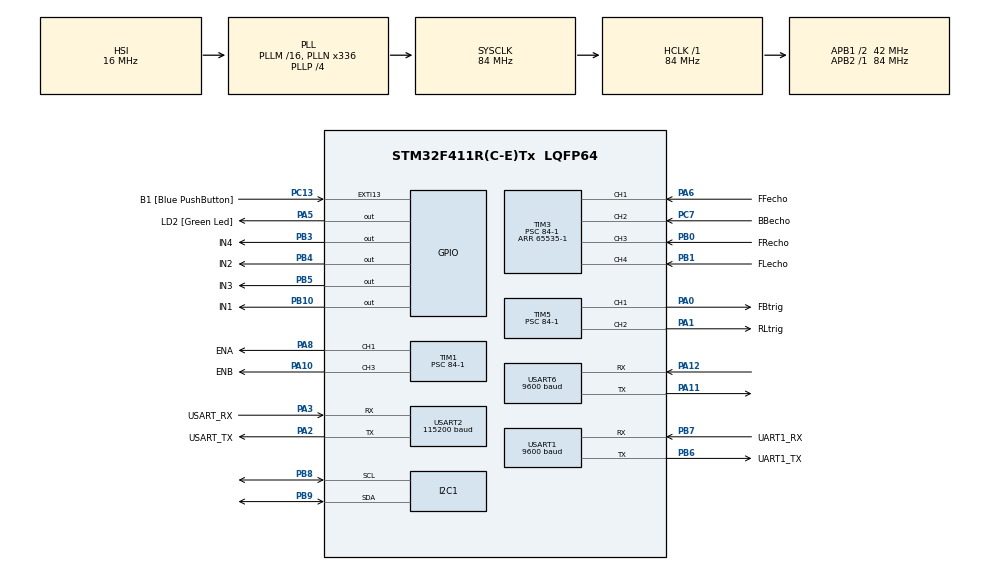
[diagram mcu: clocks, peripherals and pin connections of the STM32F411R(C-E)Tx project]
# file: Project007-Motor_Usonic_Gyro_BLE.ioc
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Mcu.Family=STM32F4
Mcu.Name=STM32F411R(C-E)Tx
Mcu.Package=LQFP64
NVIC.EXTI15_10_IRQn=true\:0\:0\:false\:false\:true\:true\:true\:true
NVIC.PriorityGroup=NVIC_PRIORITYGROUP_4
NVIC.TIM3_IRQn=true\:0\:0\:false\:false\:true\:true\:true\:true
NVIC.TIM4_IRQn=true\:0\:0\:false\:false\:true\:true\:true\:true
NVIC.USART1_IRQn=true\:0\:0\:false\:false\:true\:true\:true\:true
NVIC.USART2_IRQn=true\:0\:0\:false\:false\:true\:true\:true\:true
NVIC.USART6_IRQn=true\:0\:0\:false\:false\:true\:true\:true\:true
PA0-WKUP.GPIO_Label=FBtrig
PA0-WKUP.Signal=S_TIM5_CH1
PA1.GPIO_Label=RLtrig
PA1.Signal=S_TIM5_CH2
PA10.GPIO_Label=ENB
PA10.Signal=S_TIM1_CH3
PA11.Mode=Asynchronous
PA11.Signal=USART6_TX
PA12.Mode=Asynchronous
PA12.Signal=USART6_RX
PA13.GPIO_Label=TMS
PA13.Mode=Serial_Wire
PA13.Signal=SYS_JTMS-SWDIO
PA14.GPIO_Label=TCK
PA14.Mode=Serial_Wire
PA14.Signal=SYS_JTCK-SWCLK
PA2.GPIO_Label=USART_TX
PA2.Mode=Asynchronous
PA2.Signal=USART2_TX
PA3.GPIO_Label=USART_RX
PA3.Mode=Asynchronous
PA3.Signal=USART2_RX
PA5.GPIO_Label=LD2 [Green Led]
PA5.Signal=GPIO_Output
PA6.GPIO_Label=FFecho
PA6.Signal=S_TIM3_CH1
PA8.GPIO_Label=ENA
PA8.Signal=S_TIM1_CH1
PB0.GPIO_Label=FRecho
PB0.Signal=S_TIM3_CH3
PB1.GPIO_Label=FLecho
PB1.Signal=S_TIM3_CH4
PB10.GPIO_Label=IN1
PB10.Signal=GPIO_Output
PB3.GPIO_Label=IN4
PB3.Signal=GPIO_Output
PB4.GPIO_Label=IN2
PB4.Signal=GPIO_Output
PB5.GPIO_Label=IN3
PB5.Signal=GPIO_Output
PB6.GPIO_Label=UART1_TX
PB6.Mode=Asynchronous
PB6.Signal=USART1_TX
PB7.GPIO_Label=UART1_RX
PB7.Mode=Asynchronous
PB7.Signal=USART1_RX
PB8.Mode=I2C
PB8.Signal=I2C1_SCL
PB9.Mode=I2C
PB9.Signal=I2C1_SDA
PC13-ANTI_TAMP.GPIO_Label=B1 [Blue PushButton]
PC13-ANTI_TAMP.GPIO_ModeDefaultEXTI=GPIO_MODE_IT_FALLING
PC13-ANTI_TAMP.Signal=GPXTI13
PC14-OSC32_IN.Mode=LSE-External-Oscillator
PC14-OSC32_IN.Signal=RCC_OSC32_IN
PC15-OSC32_OUT.Mode=LSE-External-Oscillator
PC15-OSC32_OUT.Signal=RCC_OSC32_OUT
PC7.GPIO_Label=BBecho
PC7.Signal=S_TIM3_CH2
PH0\ -\ OSC_IN.Mode=HSE-External-Clock-Source
PH0\ -\ OSC_IN.Signal=RCC_OSC_IN
PH1\ -\ OSC_OUT.Mode=HSE-External-Clock-Source
PH1\ -\ OSC_OUT.Signal=RCC_OSC_OUT
ProjectManager.HeapSize=0x200
ProjectManager.StackSize=0x400
ProjectManager.TargetToolchain=STM32CubeIDE
RCC.48MHZClocksFreq_Value=84000000
RCC.AHBFreq_Value=84000000
RCC.APB1CLKDivider=RCC_HCLK_DIV2
RCC.APB1Freq_Value=42000000
RCC.APB1TimFreq_Value=84000000
RCC.APB2Freq_Value=84000000
RCC.APB2TimFreq_Value=84000000
RCC.CortexFreq_Value=84000000
RCC.FLatency-AdvancedSettings=FLASH_LATENCY_2
RCC.HCLKFreq_Value=84000000
RCC.HSE_VALUE=8000000
RCC.HSI_VALUE=16000000
RCC.PLLN=336
RCC.PLLP=RCC_PLLP_DIV4
RCC.SYSCLKFreq_VALUE=84000000
RCC.SYSCLKSource=RCC_SYSCLKSOURCE_PLLCLK
RCC.VCOOutputFreq_Value=336000000
SH.S_TIM1_CH1.0=TIM1_CH1,PWM Generation1 CH1
SH.S_TIM1_CH3.0=TIM1_CH3,PWM Generation3 CH3
SH.S_TIM3_CH1.0=TIM3_CH1,Input_Capture1_from_TI1
SH.S_TIM3_CH2.0=TIM3_CH2,Input_Capture2_from_TI2
SH.S_TIM3_CH3.0=TIM3_CH3,Input_Capture3_from_TI3
SH.S_TIM3_CH4.0=TIM3_CH4,Input_Capture4_from_TI4
SH.S_TIM5_CH1.0=TIM5_CH1,PWM Generation1 CH1
SH.S_TIM5_CH2.0=TIM5_CH2,PWM Generation2 CH2
TIM1.Channel-PWM\ Generation1\ CH1=TIM_CHANNEL_1
TIM1.Channel-PWM\ Generation3\ CH3=TIM_CHANNEL_3
TIM1.Period=1000-1
TIM1.Prescaler=84-1
TIM2.Prescaler=84-1
TIM3.AutoReloadPreload=TIM_AUTORELOAD_PRELOAD_ENABLE
TIM3.Channel-Input_Capture1_from_TI1=TIM_CHANNEL_1
TIM3.Channel-Input_Capture2_from_TI2=TIM_CHANNEL_2
TIM3.Channel-Input_Capture3_from_TI3=TIM_CHANNEL_3
TIM3.Channel-Input_Capture4_from_TI4=TIM_CHANNEL_4
TIM3.ICPolarity_CH1=TIM_INPUTCHANNELPOLARITY_RISING
TIM3.ICPolarity_CH2=TIM_INPUTCHANNELPOLARITY_RISING
TIM3.ICPolarity_CH3=TIM_INPUTCHANNELPOLARITY_RISING
TIM3.ICPolarity_CH4=TIM_INPUTCHANNELPOLARITY_RISING
TIM3.Period=65535-1
TIM3.Prescaler=84-1
TIM3.TIM_MasterOutputTrigger=TIM_TRGO_UPDATE
TIM4.Period=10000-1
TIM4.Prescaler=8400-1
TIM5.AutoReloadPreload=TIM_AUTORELOAD_PRELOAD_ENABLE
TIM5.Channel-PWM\ Generation1\ CH1=TIM_CHANNEL_1
TIM5.Channel-PWM\ Generation2\ CH2=TIM_CHANNEL_2
TIM5.CounterMode=TIM_COUNTERMODE_CENTERALIGNED1
TIM5.OCMode_PWM-PWM\ Generation1\ CH1=TIM_OCMODE_PWM2
TIM5.Period=60000-1
TIM5.Prescaler=84-1
TIM5.Pulse-PWM\ Generation1\ CH1=59990-1
TIM5.Pulse-PWM\ Generation2\ CH2=10-1
TIM5.TIM_MasterOutputTrigger=TIM_TRGO_UPDATE
USART1.BaudRate=9600
USART1.VirtualMode=VM_ASYNC
USART2.BaudRate=115200
USART2.VirtualMode=VM_ASYNC
USART6.BaudRate=9600
USART6.VirtualMode=VM_ASYNC
VP_TIM1_VS_ClockSourceINT.Mode=Internal
VP_TIM2_VS_ClockSourceINT.Mode=Internal
VP_TIM3_VS_ClockSourceINT.Mode=Internal
VP_TIM4_VS_ClockSourceINT.Mode=Internal
VP_TIM5_VS_ClockSourceINT.Mode=Internal
board=NUCLEO-F411RE

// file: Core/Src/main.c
/* USER CODE BEGIN Header */
/**
  ******************************************************************************
  * @file           : main.c
  * @brief          : Main program body
  ******************************************************************************
  * @attention
  *
  * Copyright (c) 2025 STMicroelectronics.
  * All rights reserved.
  *
  * This software is licensed under terms that can be found in the LICENSE file
  * in the root directory of this software component.
  * If no LICENSE file comes with this software, it is provided AS-IS.
  *
  ******************************************************************************
  */
/* USER CODE END Header */
#include "main.h"

/* USER CODE BEGIN Includes */
#include "string.h"
#include <stdio.h>
#include <math.h>
/* USER CODE END Includes */

I2C_HandleTypeDef hi2c1;

TIM_HandleTypeDef htim1;
TIM_HandleTypeDef htim2;
TIM_HandleTypeDef htim3;
TIM_HandleTypeDef htim4;
TIM_HandleTypeDef htim5;

UART_HandleTypeDef huart1;
UART_HandleTypeDef huart2;
UART_HandleTypeDef huart6;

void SystemClock_Config(void);
static void MX_GPIO_Init(void);
static void MX_USART2_UART_Init(void);
static void MX_TIM1_Init(void);
static void MX_TIM2_Init(void);
static void MX_TIM3_Init(void);
static void MX_I2C1_Init(void);
static void MX_USART1_UART_Init(void);
static void MX_TIM4_Init(void);
static void MX_USART6_UART_Init(void);
static void MX_TIM5_Init(void);

/* USER CODE BEGIN 0 */
#define BUF_SIZE 100
double FF_dist = 0, FR_dist = 0, FL_dist = 0, BB_dist = 0;
//0 : Slow Stop , 1 : Emergency Stop, 2 : Forward, 3: Backward
//4 : Slow Right, 5 : Quick Right
//6 : Slow Left, 7 : Quick Left
void Motor_Mode(int x)
{
	switch(x) {
		  case 0:		// Slow Stop
			  if(htim1.Instance->CCR1 > 0)
			  {
				  HAL_GPIO_WritePin(IN1_GPIO_Port, IN1_Pin, 1);
				  HAL_GPIO_WritePin(IN2_GPIO_Port, IN2_Pin, 0);
				  HAL_GPIO_WritePin(IN3_GPIO_Port, IN3_Pin, 1);
				  HAL_GPIO_WritePin(IN4_GPIO_Port, IN4_Pin, 0);
				  for(int spd = 300; spd > 0;)
				  {
					  htim1.Instance->CCR1 = spd;
					  htim1.Instance->CCR3 = spd;
					  spd -= 40;
					  HAL_Delay(100);
				  }
				  htim1.Instance->CCR1 = 0;
				  htim1.Instance->CCR3 = 0;
			  }
			  else
			  {
				  HAL_GPIO_WritePin(IN1_GPIO_Port, IN1_Pin, 1);
				  HAL_GPIO_WritePin(IN2_GPIO_Port, IN2_Pin, 1);
				  HAL_GPIO_WritePin(IN3_GPIO_Port, IN3_Pin, 1);
				  HAL_GPIO_WritePin(IN4_GPIO_Port, IN4_Pin, 1);
			  }
			  break;
		  case 1:		// Emergency Stop
			  HAL_GPIO_WritePin(IN1_GPIO_Port, IN1_Pin, 1);
			  HAL_GPIO_WritePin(IN2_GPIO_Port, IN2_Pin, 1);
			  HAL_GPIO_WritePin(IN3_GPIO_Port, IN3_Pin, 1);
			  HAL_GPIO_WritePin(IN4_GPIO_Port, IN4_Pin, 1);
			  break;
		  case 2:		// Forward
			  htim1.Instance->CCR1 = 300;
			  htim1.Instance->CCR3 = 300;

			  HAL_GPIO_WritePin(IN1_GPIO_Port, IN1_Pin, 1);
			  HAL_GPIO_WritePin(IN2_GPIO_Port, IN2_Pin, 0);
			  HAL_GPIO_WritePin(IN3_GPIO_Port, IN3_Pin, 1);
			  HAL_GPIO_WritePin(IN4_GPIO_Port, IN4_Pin, 0);
			  break;
		  case 3:		// Backward
			  htim1.Instance->CCR1 = 300;
			  htim1.Instance->CCR3 = 300;
			  HAL_GPIO_WritePin(IN1_GPIO_Port, IN1_Pin, 0);
			  HAL_GPIO_WritePin(IN2_GPIO_Port, IN2_Pin, 1);
			  HAL_GPIO_WritePin(IN3_GPIO_Port, IN3_Pin, 0);
			  HAL_GPIO_WritePin(IN4_GPIO_Port, IN4_Pin, 1);
			  break;
		  case 4:		// Slow Right
			  htim1.Instance->CCR1 = 450;		//ENA
			  htim1.Instance->CCR3 = 220;		//ENB

			  HAL_GPIO_WritePin(IN1_GPIO_Port, IN1_Pin, 1);
			  HAL_GPIO_WritePin(IN2_GPIO_Port, IN2_Pin, 0);
			  HAL_GPIO_WritePin(IN3_GPIO_Port, IN3_Pin, 1);
			  HAL_GPIO_WritePin(IN4_GPIO_Port, IN4_Pin, 0);
			  break;
		  case 5:		// Quick Right
			  htim1.Instance->CCR1 = 300;
			  htim1.Instance->CCR3 = 300;

			  HAL_GPIO_WritePin(IN1_GPIO_Port, IN1_Pin, 1);
			  HAL_GPIO_WritePin(IN2_GPIO_Port, IN2_Pin, 0);
			  HAL_GPIO_WritePin(IN3_GPIO_Port, IN3_Pin, 0);
			  HAL_GPIO_WritePin(IN4_GPIO_Port, IN4_Pin, 1);
			  break;
		  case 6:		// Slow Left
			  htim1.Instance->CCR1 = 220;		//ENA
			  htim1.Instance->CCR3 = 450;		//ENB

			  HAL_GPIO_WritePin(IN1_GPIO_Port, IN1_Pin, 1);
			  HAL_GPIO_WritePin(IN2_GPIO_Port, IN2_Pin, 0);
			  HAL_GPIO_WritePin(IN3_GPIO_Port, IN3_Pin, 1);
			  HAL_GPIO_WritePin(IN4_GPIO_Port, IN4_Pin, 0);
			  break;
		  case 7:		// Quick Left
			  htim1.Instance->CCR1 = 300;
			  htim1.Instance->CCR3 = 300;

			  HAL_GPIO_WritePin(IN1_GPIO_Port, IN1_Pin, 0);
			  HAL_GPIO_WritePin(IN2_GPIO_Port, IN2_Pin, 1);
			  HAL_GPIO_WritePin(IN3_GPIO_Port, IN3_Pin, 1);
			  HAL_GPIO_WritePin(IN4_GPIO_Port, IN4_Pin, 0);
			  break;
	}
}

int mv_mode = 1;
// 0 : standby, 1 : Passenger, 2 : watchdog
// 3 : Obstacle, 4 : Forward First, 5 : Right First, 6 : Left First
// 7 : Destination, 8 : Charge
void Move_mode()
{
	switch(mv_mode)
	{
	case 0 :	// Standby
		printf("======Standby========\r\n");
		Motor_Mode(1);	// Emergency Stop
		break;
	case 1 :	// Passenger
		printf("======Passenger========\r\n");
		Motor_Mode(1);	// Emergency Stop
		break;
	case 2 : 	// Watchdog
		printf("======Watchdog========\r\n");
		Motor_Mode(1);	// Emergency Stop
		break;
	case 3 :	// Obstacle
		printf("======Obstacle========\r\n");
		Motor_Mode(1);	// Emergency Stop
		break;
	case 4 :	// Forward First
		if((FR_dist < 500) && (FL_dist < 500) && (FF_dist < 500))
		{
			Motor_Mode(0);	// Slow Stop
			mv_mode = 3;
		}
		else if(FR_dist < 300)
		{
			while(FF_dist < 800)
			{
				Motor_Mode(7);	// Quick Left
				HAL_Delay(1);
			}
		}
		else if(FL_dist < 300)
		{
			while(FF_dist < 800)
			{
				Motor_Mode(5);	// Quick Right
				HAL_Delay(1);
			}
		}
		else if(FR_dist < 500)
		{
			while(FF_dist < 800)
			{
				Motor_Mode(6);	// Slow Left
				HAL_Delay(1);
			}
		}
		else if(FL_dist < 500)
		{
			while(FF_dist < 800)
			{
				Motor_Mode(4);	// Slow Right
				HAL_Delay(1);
			}
		}
		else
		{
			Motor_Mode(2);	// Forward
		}
		break;
	case 5 : 	// Right First

		break;
	case 6 :	// Left First
		printe("======Left First========");
		if((FL_dist < 150) || (FR_dist < 150) || (FF_dist < 150))
		{
			while(!printe("=============1============="));
			Motor_Mode(0);	// Slow Stop
			HAL_Delay(100);
			Motor_Mode(3);	// Backward
			HAL_Delay(10);
		}
		else if((FL_dist < 300) && (FR_dist > 500))
		{
			while(!printe("=============2============="));
			Motor_Mode(5);	// Quick Right
			HAL_Delay(2);
		}
		else
		{
			while(!printe("=============3============="));
			Motor_Mode(6);	// Slow Left
			HAL_Delay(2);
		}
		break;
	case 7 :	// Destination
		//Gyro_ModuleSet();
		Motor_Mode(2);	// Forward
		printe("======Destination========");
		while(1)
		{
			//printf("FF_dist = %.2f\r\n", FF_dist);
			if(FF_dist > 800)
			{
				Motor_Mode(2);	// Forward
			}
			else	break;
		}
		//Gyro_reSet();
		double Dturn;
		char debug_buf2[100];
		while(Dturn < 160)
		{
			//printf("BB_dist = %.2f\r\n", BB_dist);
			//Read_Z_Angle(&Dturn);
			sprintf(debug_buf2, "%.2f", Dturn);
			printe(debug_buf2);
			HAL_Delay(200);
			Motor_Mode(5);		// Quick Right
			HAL_Delay(10);
		}
		while(1)
		{
			//printf("BB_dist = %.2f\r\n", BB_dist);
			//printf("backward\r\n");
			Motor_Mode(3);		// Backward
			if(BB_dist < 300)	break;
		}
		mv_mode = 1;
		//printf("curr_state : %d\r\n", mv_mode);
		break;
	case 8 :	// Charge

		break;
	}
}

// GPIO Interrupt
int testM = 0;
void HAL_GPIO_EXTI_Callback(uint16_t GPIO_Pin)
{
  switch(GPIO_Pin) {
	case GPIO_PIN_13:
		if(mv_mode == 1)	mv_mode = 6;
		break;
  }
}

int fF_t1 = 0, fF_t2 = 0;
int fR_t1 = 0, fR_t2 = 0;
int fL_t1 = 0, fL_t2 = 0;
int bB_t1 = 0, bB_t2 = 0;
uint8_t fF_Flag = 0;
uint8_t bB_Flag = 0;
uint8_t fR_Flag = 0;
uint8_t fL_Flag = 0;
void HAL_TIM_IC_CaptureCallback(TIM_HandleTypeDef *htim)
{
	// Ultrasonic TIM_IC
  if (htim->Instance == TIM3)
  {
    if (htim->Channel == HAL_TIM_ACTIVE_CHANNEL_1)	// FF_Echo
    {
      if (fF_Flag == 0)  // Rising Edge
      {
    	  fF_t1 = HAL_TIM_ReadCapturedValue(htim, TIM_CHANNEL_1);
    	  // Capture state
    	  fF_Flag = 1;

        // set Falling Edge Detect Mode
        __HAL_TIM_SET_CAPTUREPOLARITY(htim, TIM_CHANNEL_1, TIM_INPUTCHANNELPOLARITY_FALLING);
      }
      else if (fF_Flag == 1)  // Falling Edge
      {
        fF_t2 = HAL_TIM_ReadCapturedValue(htim, TIM_CHANNEL_1);
        uint32_t max_cnt = __HAL_TIM_GET_AUTORELOAD(htim);	// Timer MAX Value

        // Distance
        // (t us * 340 m/s) / 2 -> t * 0.17 mm/us
        if (fF_t2 > fF_t1)
        {
          FF_dist = ((fF_t2 - fF_t1) * 17) / 100.0;
        }
        else
        {
        	FF_dist = (((max_cnt - fF_t1) + fF_t2 + 1) * 17) / 100.0;
        }

        // Capture State initial
        fF_Flag = 0;

        // Set Rising Edge Detect Mode
        __HAL_TIM_SET_CAPTUREPOLARITY(htim, TIM_CHANNEL_1, TIM_INPUTCHANNELPOLARITY_RISING);
        //__HAL_TIM_SET_COUNTER(htim, 0); // Timer Counter Initial
      }
    }
    if (htim->Channel == HAL_TIM_ACTIVE_CHANNEL_2)	// BB_Echo
    {
	  if (bB_Flag == 0)  // Rising Edge
	  {
		  bB_t1 = HAL_TIM_ReadCapturedValue(htim, TIM_CHANNEL_2);
		  // Capture state
		  bB_Flag = 1;

		// set Falling Edge Detect Mode
		__HAL_TIM_SET_CAPTUREPOLARITY(htim, TIM_CHANNEL_2, TIM_INPUTCHANNELPOLARITY_FALLING);
	  }
	  else if (bB_Flag == 1)  // Falling Edge
	  {
		bB_t2 = HAL_TIM_ReadCapturedValue(htim, TIM_CHANNEL_2);
		uint32_t max_cnt = __HAL_TIM_GET_AUTORELOAD(htim);	// Timer MAX Value

		// Distance
		// (t us * 340 m/s) / 2 -> t * 0.17 mm/us
		if (bB_t2 > bB_t1)
		{
		  BB_dist = ((bB_t2 - bB_t1) * 17) / 100.0;
		}
		else
		{
			BB_dist = (((max_cnt - bB_t1) + bB_t2 + 1) * 17) / 100.0;
		}

		// Capture State initial
		bB_Flag = 0;

		// Set Rising Edge Detect Mode
		__HAL_TIM_SET_CAPTUREPOLARITY(htim, TIM_CHANNEL_2, TIM_INPUTCHANNELPOLARITY_RISING);
		//__HAL_TIM_SET_COUNTER(htim, 0); // Timer Counter Initial
	  }
	}
    if (htim->Channel == HAL_TIM_ACTIVE_CHANNEL_3)	// FR_Echo
	{
	  if (fR_Flag == 0)  // Rising Edge
	  {
		  fR_t1 = HAL_TIM_ReadCapturedValue(htim, TIM_CHANNEL_3);
		  // Capture state
		  fR_Flag = 1;

		// set Falling Edge Detect Mode
		__HAL_TIM_SET_CAPTUREPOLARITY(htim, TIM_CHANNEL_3, TIM_INPUTCHANNELPOLARITY_FALLING);
	  }
	  else if (fR_Flag == 1)  // Falling Edge
	  {
		fR_t2 = HAL_TIM_ReadCapturedValue(htim, TIM_CHANNEL_3);
		uint32_t max_cnt = __HAL_TIM_GET_AUTORELOAD(htim);	// Timer MAX Value

		// Distance
		// (t us * 340 m/s) / 2 -> t * 0.17 mm/us
		if (fR_t2 > fR_t1)
		{
		  FR_dist = ((fR_t2 - fR_t1) * 17) / 100.0;
		}
		else
		{
			FR_dist = (((max_cnt - fR_t1) + fR_t2 + 1) * 17) / 100.0;
		}

		// Capture State initial
		fR_Flag = 0;

		// Set Rising Edge Detect Mode
		__HAL_TIM_SET_CAPTUREPOLARITY(htim, TIM_CHANNEL_3, TIM_INPUTCHANNELPOLARITY_RISING);
		//__HAL_TIM_SET_COUNTER(htim, 0); // Timer Counter Initial
	  }
	}
    if (htim->Channel == HAL_TIM_ACTIVE_CHANNEL_4)	// FR_Echo
	{
	  if (fL_Flag == 0)  // Rising Edge
	  {
		  fL_t1 = HAL_TIM_ReadCapturedValue(htim, TIM_CHANNEL_4);
		  // Capture state
		  fL_Flag = 1;

		// set Falling Edge Detect Mode
		__HAL_TIM_SET_CAPTUREPOLARITY(htim, TIM_CHANNEL_4, TIM_INPUTCHANNELPOLARITY_FALLING);
	  }
	  else if (fL_Flag == 1)  // Falling Edge
	  {
		fL_t2 = HAL_TIM_ReadCapturedValue(htim, TIM_CHANNEL_4);
		uint32_t max_cnt = __HAL_TIM_GET_AUTORELOAD(htim);	// Timer MAX Value

		// Distance
		// (t us * 340 m/s) / 2 -> t * 0.17 mm/us
		if (fL_t2 > fL_t1)
		{
		  FL_dist = ((fL_t2 - fL_t1) * 17) / 100.0;
		}
		else
		{
			FL_dist = (((max_cnt - fL_t1) + fL_t2 + 1) * 17) / 100.0;
		}

		// Capture State initial
		fL_Flag = 0;

		// Set Rising Edge Detect Mode
		__HAL_TIM_SET_CAPTUREPOLARITY(htim, TIM_CHANNEL_4, TIM_INPUTCHANNELPOLARITY_RISING);
		//__HAL_TIM_SET_COUNTER(htim, 0); // Timer Counter Initial
	  }
	}
  }
}

char buf1[BUF_SIZE], buf2[BUF_SIZE]; // DMA Buffer
char dum1, dum2;
int head1 = 0, head2 = 0, tail1 = 0, tail2 = 0; // mode 0: AT command, 1: regularly send AT+INQ and detect entered slave address
int sn; //slave number
int TCP_connect = 1, WIFI_connect = 1;

// 8E4591 : Start Point, 15DA51 : Corner Point
// 37826F : Destination Point, A7EF18 : Charging State Point
char* slave_addr[5] = {"8E4591", "15DA51", "37826F", "A7EF18", "9B0C60"}; // slave address

void HAL_UART_RxCpltCallback(UART_HandleTypeDef *huart)
{
   if(huart == &huart6)
   {
      if((dum1 != '\r') && (dum1 != '\n')) {
         buf1[tail1++] = dum1;
         HAL_UART_Transmit(&huart2, &dum1/*== buf1+t1-1*/, 1, 10);      // putty print
      }

      if(dum1 == '\n')
      {
         if(tail1 != 0) {
           HAL_UART_Transmit(&huart2, "\r\n", 2, 10);
           buf1[tail1] = '\0';

           if(!strncmp(buf1, "4,CONNECT", 9) || !strncmp(buf1, "ALREADY CONNECTED", 17)) {
              TCP_connect = 0;
           }
           if(!strncmp(buf1, "4,CLOSED", 8)) {
              TCP_connect = 1;
           }
           if(!strncmp(buf1, "WIFI GOT IP", 11)) {
			WIFI_connect = 0;
		 }
           if(!strncmp(buf1, "WIFI DISCONNECT", 15)) {
        	   WIFI_connect = 1;
           }
        }

         tail1 = 0;
      }
      HAL_UART_Receive_IT(&huart6, &dum1, 1);         // interrupt chain
   }

   else if(huart == &huart2)
   {
      buf2[tail2++] = dum2;
      HAL_UART_Transmit(&huart2, &dum2, 1, 10); // terminal echo
      if(dum2 == '\r')  // CR : 0x0d
      {
         HAL_UART_Transmit(&huart2, "\n", 1, 10); // terminal echo

         buf2[tail2++] = '\n'; // == HAL_UART_Transmit(&huart6, "\n", 1, 10);
         HAL_UART_Transmit(&huart6, buf2, tail2, 10);   // AT Command
//         HAL_UART_Transmit(&huart6, "\n", 1, 10);
         tail2 = 0;
      }
      HAL_UART_Receive_IT(&huart2, &dum2, 1);
   }
}

// SM has to change huart6
// use : while(!printe("6100"));
int last_printe = 0;
int printe(char* str) {
   if((HAL_GetTick() - last_printe) < 100) {
      return 0;
   }
   else {
      char temp_str[BUF_SIZE], temp_AT[BUF_SIZE];
      int str_len = strlen(str);
      sprintf(temp_str, "%s", str);
      temp_str[str_len++] = '\r';
      temp_str[str_len++] = '\n';
      temp_str[str_len] = '\0';
      if((str_len > 2) && (str_len < 100)) {
         HAL_UART_Transmit(&huart6, "AT+CIPSEND=", 11, 10);
         sprintf(temp_AT, "4,%d\r\n", str_len);
         if(str_len < 10) {
            HAL_UART_Transmit(&huart6, temp_AT, 5, 10);
         }
         else {
            HAL_UART_Transmit(&huart6, temp_AT, 6, 10);
         }
         int n = str_len / 11;
         int i = 0;
         printf("loading..................................\r\n");
         for(i = 0; i < n; i++) {
            HAL_UART_Transmit(&huart6, temp_str + (i * 11), 11, 10);
         }
         HAL_UART_Transmit(&huart6, temp_str + (i * 11), str_len - (i * 11), 10);
      }
      last_printe = HAL_GetTick();
   }
   return 1;
}

void ESP8266_server_init(){
   /*HAL_UART_Transmit(&huart1, "AT+RST\r\n", 8, 10);               // RESET
   HAL_Delay(1000);*/

   HAL_UART_Transmit(&huart6, "AT+CWMODE=1", 11, 10);            // 1: CLIENT MODE, 2: SERVER MODE, 3: Multi mode
   HAL_UART_Transmit(&huart6, "\r\n", 2, 10);
   HAL_Delay(10);
   printe("111111111111111111111111111");
	  HAL_Delay(500);

//   while(WIFI_connect) { // HARMAN WIFI CONNECT
//   	  HAL_UART_Transmit(&huart6, "AT+CWJAP=\"P", 11, 10);
//   	  HAL_UART_Transmit(&huart6, "rocessor2.4", 11, 10);
//   	  HAL_UART_Transmit(&huart6, "G\",\"Process", 11, 10);
//   	  HAL_UART_Transmit(&huart6, "or1234\"\r\n", 9, 10);      // SERVER Connect
//   	  HAL_Delay(500);
//  }
//   printe("connect wifi");
//	  HAL_Delay(500);

//  while(WIFI_connect) { // SM Wifi
//	  HAL_UART_Transmit(&huart6, "AT+CWJAP=\"S", 11, 10);
//	  HAL_UART_Transmit(&huart6, "M\",\"1111111", 11, 10);
//	  HAL_UART_Transmit(&huart6, "1\"\r\n", 4, 10);	// SERVER Connect
//	  HAL_Delay(1000);
//	}
//	 printe("connect wifi");
//	  HAL_Delay(500);

   HAL_UART_Transmit(&huart6, "AT+CIPMUX=1", 11, 10);            // 0: single connection mode, 1: multi connection mode
   HAL_UART_Transmit(&huart6, "\r\n", 2, 10);
   HAL_Delay(10);

   while(TCP_connect) { // sm TCP
   	  HAL_UART_Transmit(&huart6, "AT+CIPSTART", 11, 10);
   	  HAL_UART_Transmit(&huart6, "=4,\"TCP\",\"1", 11, 10);
   	  HAL_UART_Transmit(&huart6, "92.168.221.", 11, 10);
   	  HAL_UART_Transmit(&huart6, "157\",3000\r\n", 11, 10);      // SERVER Connect
   	  HAL_Delay(1000);
  }

//   while(TCP_connect) { // HARMAN TCP SERVER CONNECT
//   	  HAL_UART_Transmit(&huart6, "AT+CIPSTART", 11, 10);
//   	  HAL_UART_Transmit(&huart6, "=4,\"TCP\",\"1", 11, 10);
//   	  HAL_UART_Transmit(&huart6, "92.168.0.65", 11, 10);
//   	  HAL_UART_Transmit(&huart6, "\",3000\r\n", 8, 10);      // SERVER Connect
//   	  HAL_Delay(500);
//  }

   printe("connect TCP server");

   /*HAL_UART_Transmit(&huart1, "AT+CIFSR", 11, 10);               // Show IP & MAC Address
   HAL_UART_Transmit(&huart1, "\r\n", 2, 10);
   HAL_Delay(10);*/
}

//void HAL_UART_RxCpltCallback(UART_HandleTypeDef *huart)
//{
//   if(huart == &huart1)
//   {
//      buf1[tail1++] = dum1;
//      if(!mv_mode) {
//    	  HAL_UART_Transmit(&huart2, &dum1/*== buf1+t1-1*/, 1, 10);      // putty print
//      }
//      if(dum1 == '\r')
//      {
//    	  if(mv_mode){
//			  char comp_buf[BUF_SIZE];
//			  if(tail1 > 15) {
//				  sprintf(comp_buf, "%s\n\0", &buf1[tail1 - 7]);
//				  // Start Point
//				  if(!strncmp(comp_buf, slave_addr[0], 6))
//				  {
//					  // Move mode change : pasenger -> forward
//				  }
//				  // Corner Point
//				  else if(!strncmp(comp_buf, slave_addr[1], 6))
//				  {
//					  mv_mode = 6;
//				  }
//				  // Destination Point
//				  else if(!strncmp(comp_buf, slave_addr[2], 6))
//				  {
//					  mv_mode = 7;
//				  }
//				  // Charging State Point
//				  else if(!strncmp(comp_buf, slave_addr[3], 6))
//				  {
//					  mv_mode = 7;
//				  }
////				  if(!strncmp(comp_buf, slave_addr[sn], 6)) {
////					  /* Add to Mode select */
////					  printf("I found it%d\r\n\r\n", temp2++);
////				  }
//			  }
//    	  }
//         tail1 = 0;
//      }
//      HAL_UART_Receive_IT(&huart1, &dum1, 1);         // interrupt chain
//   }
////   Debugging
////   else if(huart == &huart2)
////   {
////      buf2[tail2++] = dum2;
////      HAL_UART_Transmit(&huart2, &dum2, 1, 10); // terminal echo
////      if(dum2 == '\r')  // CR : 0x0d
////      {
////         HAL_UART_Transmit(&huart2, "\n", 1, 10); // terminal echo
////         buf2[tail2++] = '\n'; // == HAL_UART_Transmit(&huart1, "\n", 1, 10);
////         HAL_UART_Transmit(&huart1, buf2, tail2, 10);   // AT Command
////         tail2 = 0;
////      }
////      HAL_UART_Receive_IT(&huart2, &dum2, 1);
////   }
//}

void HAL_TIM_PeriodElapsedCallback(TIM_HandleTypeDef *htim)
{
	if (htim->Instance == TIM4) {
		// Timer4 interrupt : 1.5 sec Period
		HAL_UART_Transmit(&huart1, "AT+INQ\r\n", 8, 10);
	}
//	else if (htim->Instance == TIM3) {
//	        // Timer3 interrupt	0.06 sec Period
//		Voltage_state();
//	}
}

/* USER CODE END 0 */

int main(void)
{

  /* MCU Configuration--------------------------------------------------------*/

  /* Reset of all peripherals, Initializes the Flash interface and the Systick. */
  HAL_Init();

  /* Configure the system clock */
  SystemClock_Config();

  /* Initialize all configured peripherals */
  MX_GPIO_Init();
  MX_USART2_UART_Init();
  MX_TIM1_Init();
  MX_TIM2_Init();
  MX_TIM3_Init();
  MX_I2C1_Init();
  MX_USART1_UART_Init();
  MX_TIM4_Init();
  MX_USART6_UART_Init();
  MX_TIM5_Init();
  /* USER CODE BEGIN 2 */

  	HAL_TIM_PWM_Start(&htim1, TIM_CHANNEL_1);	// Motor PWM1
	HAL_TIM_PWM_Start(&htim1, TIM_CHANNEL_3);	// Motor PWM2
//	htim1.Instance->CCR1 = 300;
//	htim1.Instance->CCR3 = 300;
	HAL_TIM_Base_Start(&htim2);
	//UART_Start_Receive_IT(&huart1, &dum1, 1);
	UART_Start_Receive_IT(&huart2, &dum2, 1);
	UART_Start_Receive_IT(&huart6, &dum1, 1);
	HAL_TIM_PWM_Start(&htim5, TIM_CHANNEL_2);	// Ultrasonic FB_Trig
	HAL_TIM_PWM_Start(&htim5, TIM_CHANNEL_1);	// Ultrasonic RL_Trig
	HAL_TIM_Base_Start_IT(&htim4);			// bluetooth
	HAL_TIM_IC_Start_IT(&htim3, TIM_CHANNEL_1);	// Ultrasonic FF_Echo
	HAL_TIM_IC_Start_IT(&htim3, TIM_CHANNEL_2);	// Ultrasonic BB_Echo
	HAL_TIM_IC_Start_IT(&htim3, TIM_CHANNEL_3);	// Ultrasonic FR_Echo
	HAL_TIM_IC_Start_IT(&htim3, TIM_CHANNEL_4);	// Ultrasonic FL_Echo
	//i2c_Gyro_init(&hi2c1);
	//Gyro_ModuleSet();

	ESP8266_server_init();
	ProgramStart("Motor + Bluetooth + Usonic + Gyro");

  /* USER CODE END 2 */

  /* Infinite loop */
  /* USER CODE BEGIN WHILE */
  while (1)
  {
	  printf("FF_dist = %.2f, FR_dist = %.2f, FL_dist = %.2f, BB_dist = %.2f\r\n", FF_dist, FR_dist, FL_dist, BB_dist);
	  Move_mode();

	  HAL_Delay(1000);

    /* USER CODE END WHILE */

  }
}

void SystemClock_Config(void)
{
  RCC_OscInitTypeDef RCC_OscInitStruct = {0};
  RCC_ClkInitTypeDef RCC_ClkInitStruct = {0};

  /** Configure the main internal regulator output voltage
  */
  __HAL_RCC_PWR_CLK_ENABLE();
  __HAL_PWR_VOLTAGESCALING_CONFIG(PWR_REGULATOR_VOLTAGE_SCALE1);

  /** Initializes the RCC Oscillators according to the specified parameters
  * in the RCC_OscInitTypeDef structure.
  */
  RCC_OscInitStruct.OscillatorType = RCC_OSCILLATORTYPE_HSI;
  RCC_OscInitStruct.HSIState = RCC_HSI_ON;
  RCC_OscInitStruct.HSICalibrationValue = RCC_HSICALIBRATION_DEFAULT;
  RCC_OscInitStruct.PLL.PLLState = RCC_PLL_ON;
  RCC_OscInitStruct.PLL.PLLSource = RCC_PLLSOURCE_HSI;
  RCC_OscInitStruct.PLL.PLLM = 16;
  RCC_OscInitStruct.PLL.PLLN = 336;
  RCC_OscInitStruct.PLL.PLLP = RCC_PLLP_DIV4;
  RCC_OscInitStruct.PLL.PLLQ = 4;
  if (HAL_RCC_OscConfig(&RCC_OscInitStruct) != HAL_OK)
  {
    Error_Handler();
  }

  /** Initializes the CPU, AHB and APB buses clocks
  */
  RCC_ClkInitStruct.ClockType = RCC_CLOCKTYPE_HCLK|RCC_CLOCKTYPE_SYSCLK
                              |RCC_CLOCKTYPE_PCLK1|RCC_CLOCKTYPE_PCLK2;
  RCC_ClkInitStruct.SYSCLKSource = RCC_SYSCLKSOURCE_PLLCLK;
  RCC_ClkInitStruct.AHBCLKDivider = RCC_SYSCLK_DIV1;
  RCC_ClkInitStruct.APB1CLKDivider = RCC_HCLK_DIV2;
  RCC_ClkInitStruct.APB2CLKDivider = RCC_HCLK_DIV1;

  if (HAL_RCC_ClockConfig(&RCC_ClkInitStruct, FLASH_LATENCY_2) != HAL_OK)
  {
    Error_Handler();
  }
}

static void MX_I2C1_Init(void)
{

  hi2c1.Instance = I2C1;
  hi2c1.Init.ClockSpeed = 100000;
  hi2c1.Init.DutyCycle = I2C_DUTYCYCLE_2;
  hi2c1.Init.OwnAddress1 = 0;
  hi2c1.Init.AddressingMode = I2C_ADDRESSINGMODE_7BIT;
  hi2c1.Init.DualAddressMode = I2C_DUALADDRESS_DISABLE;
  hi2c1.Init.OwnAddress2 = 0;
  hi2c1.Init.GeneralCallMode = I2C_GENERALCALL_DISABLE;
  hi2c1.Init.NoStretchMode = I2C_NOSTRETCH_DISABLE;
  if (HAL_I2C_Init(&hi2c1) != HAL_OK)
  {
    Error_Handler();
  }

}

static void MX_TIM1_Init(void)
{

  TIM_ClockConfigTypeDef sClockSourceConfig = {0};
  TIM_MasterConfigTypeDef sMasterConfig = {0};
  TIM_OC_InitTypeDef sConfigOC = {0};
  TIM_BreakDeadTimeConfigTypeDef sBreakDeadTimeConfig = {0};

  htim1.Instance = TIM1;
  htim1.Init.Prescaler = 84-1;
  htim1.Init.CounterMode = TIM_COUNTERMODE_UP;
  htim1.Init.Period = 1000-1;
  htim1.Init.ClockDivision = TIM_CLOCKDIVISION_DIV1;
  htim1.Init.RepetitionCounter = 0;
  htim1.Init.AutoReloadPreload = TIM_AUTORELOAD_PRELOAD_DISABLE;
  if (HAL_TIM_Base_Init(&htim1) != HAL_OK)
  {
    Error_Handler();
  }
  sClockSourceConfig.ClockSource = TIM_CLOCKSOURCE_INTERNAL;
  if (HAL_TIM_ConfigClockSource(&htim1, &sClockSourceConfig) != HAL_OK)
  {
    Error_Handler();
  }
  if (HAL_TIM_PWM_Init(&htim1) != HAL_OK)
  {
    Error_Handler();
  }
  sMasterConfig.MasterOutputTrigger = TIM_TRGO_RESET;
  sMasterConfig.MasterSlaveMode = TIM_MASTERSLAVEMODE_DISABLE;
  if (HAL_TIMEx_MasterConfigSynchronization(&htim1, &sMasterConfig) != HAL_OK)
  {
    Error_Handler();
  }
  sConfigOC.OCMode = TIM_OCMODE_PWM1;
  sConfigOC.Pulse = 0;
  sConfigOC.OCPolarity = TIM_OCPOLARITY_HIGH;
  sConfigOC.OCNPolarity = TIM_OCNPOLARITY_HIGH;
  sConfigOC.OCFastMode = TIM_OCFAST_DISABLE;
  sConfigOC.OCIdleState = TIM_OCIDLESTATE_RESET;
  sConfigOC.OCNIdleState = TIM_OCNIDLESTATE_RESET;
  if (HAL_TIM_PWM_ConfigChannel(&htim1, &sConfigOC, TIM_CHANNEL_1) != HAL_OK)
  {
    Error_Handler();
  }
  if (HAL_TIM_PWM_ConfigChannel(&htim1, &sConfigOC, TIM_CHANNEL_3) != HAL_OK)
  {
    Error_Handler();
  }
  sBreakDeadTimeConfig.OffStateRunMode = TIM_OSSR_DISABLE;
  sBreakDeadTimeConfig.OffStateIDLEMode = TIM_OSSI_DISABLE;
  sBreakDeadTimeConfig.LockLevel = TIM_LOCKLEVEL_OFF;
  sBreakDeadTimeConfig.DeadTime = 0;
  sBreakDeadTimeConfig.BreakState = TIM_BREAK_DISABLE;
  sBreakDeadTimeConfig.BreakPolarity = TIM_BREAKPOLARITY_HIGH;
  sBreakDeadTimeConfig.AutomaticOutput = TIM_AUTOMATICOUTPUT_DISABLE;
  if (HAL_TIMEx_ConfigBreakDeadTime(&htim1, &sBreakDeadTimeConfig) != HAL_OK)
  {
    Error_Handler();
  }
  HAL_TIM_MspPostInit(&htim1);

}

static void MX_TIM2_Init(void)
{

  TIM_ClockConfigTypeDef sClockSourceConfig = {0};
  TIM_MasterConfigTypeDef sMasterConfig = {0};

  htim2.Instance = TIM2;
  htim2.Init.Prescaler = 84-1;
  htim2.Init.CounterMode = TIM_COUNTERMODE_UP;
  htim2.Init.Period = 4294967295;
  htim2.Init.ClockDivision = TIM_CLOCKDIVISION_DIV1;
  htim2.Init.AutoReloadPreload = TIM_AUTORELOAD_PRELOAD_DISABLE;
  if (HAL_TIM_Base_Init(&htim2) != HAL_OK)
  {
    Error_Handler();
  }
  sClockSourceConfig.ClockSource = TIM_CLOCKSOURCE_INTERNAL;
  if (HAL_TIM_ConfigClockSource(&htim2, &sClockSourceConfig) != HAL_OK)
  {
    Error_Handler();
  }
  sMasterConfig.MasterOutputTrigger = TIM_TRGO_RESET;
  sMasterConfig.MasterSlaveMode = TIM_MASTERSLAVEMODE_DISABLE;
  if (HAL_TIMEx_MasterConfigSynchronization(&htim2, &sMasterConfig) != HAL_OK)
  {
    Error_Handler();
  }

}

static void MX_TIM3_Init(void)
{

  TIM_ClockConfigTypeDef sClockSourceConfig = {0};
  TIM_MasterConfigTypeDef sMasterConfig = {0};
  TIM_IC_InitTypeDef sConfigIC = {0};

  htim3.Instance = TIM3;
  htim3.Init.Prescaler = 84-1;
  htim3.Init.CounterMode = TIM_COUNTERMODE_UP;
  htim3.Init.Period = 65535-1;
  htim3.Init.ClockDivision = TIM_CLOCKDIVISION_DIV1;
  htim3.Init.AutoReloadPreload = TIM_AUTORELOAD_PRELOAD_ENABLE;
  if (HAL_TIM_Base_Init(&htim3) != HAL_OK)
  {
    Error_Handler();
  }
  sClockSourceConfig.ClockSource = TIM_CLOCKSOURCE_INTERNAL;
  if (HAL_TIM_ConfigClockSource(&htim3, &sClockSourceConfig) != HAL_OK)
  {
    Error_Handler();
  }
  if (HAL_TIM_IC_Init(&htim3) != HAL_OK)
  {
    Error_Handler();
  }
  sMasterConfig.MasterOutputTrigger = TIM_TRGO_UPDATE;
  sMasterConfig.MasterSlaveMode = TIM_MASTERSLAVEMODE_DISABLE;
  if (HAL_TIMEx_MasterConfigSynchronization(&htim3, &sMasterConfig) != HAL_OK)
  {
    Error_Handler();
  }
  sConfigIC.ICPolarity = TIM_INPUTCHANNELPOLARITY_RISING;
  sConfigIC.ICSelection = TIM_ICSELECTION_DIRECTTI;
  sConfigIC.ICPrescaler = TIM_ICPSC_DIV1;
  sConfigIC.ICFilter = 0;
  if (HAL_TIM_IC_ConfigChannel(&htim3, &sConfigIC, TIM_CHANNEL_1) != HAL_OK)
  {
    Error_Handler();
  }
  if (HAL_TIM_IC_ConfigChannel(&htim3, &sConfigIC, TIM_CHANNEL_2) != HAL_OK)
  {
    Error_Handler();
  }
  if (HAL_TIM_IC_ConfigChannel(&htim3, &sConfigIC, TIM_CHANNEL_3) != HAL_OK)
  {
    Error_Handler();
  }
  if (HAL_TIM_IC_ConfigChannel(&htim3, &sConfigIC, TIM_CHANNEL_4) != HAL_OK)
  {
    Error_Handler();
  }

}

static void MX_TIM4_Init(void)
{

  TIM_ClockConfigTypeDef sClockSourceConfig = {0};
  TIM_MasterConfigTypeDef sMasterConfig = {0};

  htim4.Instance = TIM4;
  htim4.Init.Prescaler = 8400-1;
  htim4.Init.CounterMode = TIM_COUNTERMODE_UP;
  htim4.Init.Period = 10000-1;
  htim4.Init.ClockDivision = TIM_CLOCKDIVISION_DIV1;
  htim4.Init.AutoReloadPreload = TIM_AUTORELOAD_PRELOAD_DISABLE;
  if (HAL_TIM_Base_Init(&htim4) != HAL_OK)
  {
    Error_Handler();
  }
  sClockSourceConfig.ClockSource = TIM_CLOCKSOURCE_INTERNAL;
  if (HAL_TIM_ConfigClockSource(&htim4, &sClockSourceConfig) != HAL_OK)
  {
    Error_Handler();
  }
  sMasterConfig.MasterOutputTrigger = TIM_TRGO_RESET;
  sMasterConfig.MasterSlaveMode = TIM_MASTERSLAVEMODE_DISABLE;
  if (HAL_TIMEx_MasterConfigSynchronization(&htim4, &sMasterConfig) != HAL_OK)
  {
    Error_Handler();
  }

}

static void MX_TIM5_Init(void)
{

  TIM_ClockConfigTypeDef sClockSourceConfig = {0};
  TIM_MasterConfigTypeDef sMasterConfig = {0};
  TIM_OC_InitTypeDef sConfigOC = {0};

  htim5.Instance = TIM5;
  htim5.Init.Prescaler = 84-1;
  htim5.Init.CounterMode = TIM_COUNTERMODE_CENTERALIGNED1;
  htim5.Init.Period = 60000-1;
  htim5.Init.ClockDivision = TIM_CLOCKDIVISION_DIV1;
  htim5.Init.AutoReloadPreload = TIM_AUTORELOAD_PRELOAD_ENABLE;
  if (HAL_TIM_Base_Init(&htim5) != HAL_OK)
  {
    Error_Handler();
  }
  sClockSourceConfig.ClockSource = TIM_CLOCKSOURCE_INTERNAL;
  if (HAL_TIM_ConfigClockSource(&htim5, &sClockSourceConfig) != HAL_OK)
  {
    Error_Handler();
  }
  if (HAL_TIM_PWM_Init(&htim5) != HAL_OK)
  {
    Error_Handler();
  }
  sMasterConfig.MasterOutputTrigger = TIM_TRGO_UPDATE;
  sMasterConfig.MasterSlaveMode = TIM_MASTERSLAVEMODE_DISABLE;
  if (HAL_TIMEx_MasterConfigSynchronization(&htim5, &sMasterConfig) != HAL_OK)
  {
    Error_Handler();
  }
  sConfigOC.OCMode = TIM_OCMODE_PWM2;
  sConfigOC.Pulse = 59990-1;
  sConfigOC.OCPolarity = TIM_OCPOLARITY_HIGH;
  sConfigOC.OCFastMode = TIM_OCFAST_DISABLE;
  if (HAL_TIM_PWM_ConfigChannel(&htim5, &sConfigOC, TIM_CHANNEL_1) != HAL_OK)
  {
    Error_Handler();
  }
  sConfigOC.OCMode = TIM_OCMODE_PWM1;
  sConfigOC.Pulse = 10-1;
  if (HAL_TIM_PWM_ConfigChannel(&htim5, &sConfigOC, TIM_CHANNEL_2) != HAL_OK)
  {
    Error_Handler();
  }
  HAL_TIM_MspPostInit(&htim5);

}

static void MX_USART1_UART_Init(void)
{

  huart1.Instance = USART1;
  huart1.Init.BaudRate = 9600;
  huart1.Init.WordLength = UART_WORDLENGTH_8B;
  huart1.Init.StopBits = UART_STOPBITS_1;
  huart1.Init.Parity = UART_PARITY_NONE;
  huart1.Init.Mode = UART_MODE_TX_RX;
  huart1.Init.HwFlowCtl = UART_HWCONTROL_NONE;
  huart1.Init.OverSampling = UART_OVERSAMPLING_16;
  if (HAL_UART_Init(&huart1) != HAL_OK)
  {
    Error_Handler();
  }

}

static void MX_USART2_UART_Init(void)
{

  huart2.Instance = USART2;
  huart2.Init.BaudRate = 115200;
  huart2.Init.WordLength = UART_WORDLENGTH_8B;
  huart2.Init.StopBits = UART_STOPBITS_1;
  huart2.Init.Parity = UART_PARITY_NONE;
  huart2.Init.Mode = UART_MODE_TX_RX;
  huart2.Init.HwFlowCtl = UART_HWCONTROL_NONE;
  huart2.Init.OverSampling = UART_OVERSAMPLING_16;
  if (HAL_UART_Init(&huart2) != HAL_OK)
  {
    Error_Handler();
  }

}

static void MX_USART6_UART_Init(void)
{

  huart6.Instance = USART6;
  huart6.Init.BaudRate = 9600;
  huart6.Init.WordLength = UART_WORDLENGTH_8B;
  huart6.Init.StopBits = UART_STOPBITS_1;
  huart6.Init.Parity = UART_PARITY_NONE;
  huart6.Init.Mode = UART_MODE_TX_RX;
  huart6.Init.HwFlowCtl = UART_HWCONTROL_NONE;
  huart6.Init.OverSampling = UART_OVERSAMPLING_16;
  if (HAL_UART_Init(&huart6) != HAL_OK)
  {
    Error_Handler();
  }

}

static void MX_GPIO_Init(void)
{
  GPIO_InitTypeDef GPIO_InitStruct = {0};

  /* GPIO Ports Clock Enable */
  __HAL_RCC_GPIOC_CLK_ENABLE();
  __HAL_RCC_GPIOH_CLK_ENABLE();
  __HAL_RCC_GPIOA_CLK_ENABLE();
  __HAL_RCC_GPIOB_CLK_ENABLE();

  /*Configure GPIO pin Output Level */
  HAL_GPIO_WritePin(LD2_GPIO_Port, LD2_Pin, GPIO_PIN_RESET);

  /*Configure GPIO pin Output Level */
  HAL_GPIO_WritePin(GPIOB, IN1_Pin|IN4_Pin|IN2_Pin|IN3_Pin, GPIO_PIN_RESET);

  /*Configure GPIO pin : B1_Pin */
  GPIO_InitStruct.Pin = B1_Pin;
  GPIO_InitStruct.Mode = GPIO_MODE_IT_FALLING;
  GPIO_InitStruct.Pull = GPIO_NOPULL;
  HAL_GPIO_Init(B1_GPIO_Port, &GPIO_InitStruct);

  /*Configure GPIO pin : LD2_Pin */
  GPIO_InitStruct.Pin = LD2_Pin;
  GPIO_InitStruct.Mode = GPIO_MODE_OUTPUT_PP;
  GPIO_InitStruct.Pull = GPIO_NOPULL;
  GPIO_InitStruct.Speed = GPIO_SPEED_FREQ_LOW;
  HAL_GPIO_Init(LD2_GPIO_Port, &GPIO_InitStruct);

  /*Configure GPIO pins : IN1_Pin IN4_Pin IN2_Pin IN3_Pin */
  GPIO_InitStruct.Pin = IN1_Pin|IN4_Pin|IN2_Pin|IN3_Pin;
  GPIO_InitStruct.Mode = GPIO_MODE_OUTPUT_PP;
  GPIO_InitStruct.Pull = GPIO_NOPULL;
  GPIO_InitStruct.Speed = GPIO_SPEED_FREQ_LOW;
  HAL_GPIO_Init(GPIOB, &GPIO_InitStruct);

  /* EXTI interrupt init*/
  HAL_NVIC_SetPriority(EXTI15_10_IRQn, 0, 0);
  HAL_NVIC_EnableIRQ(EXTI15_10_IRQn);

}

void Error_Handler(void)
{
  __disable_irq();
  while (1)
  {
  }
}
